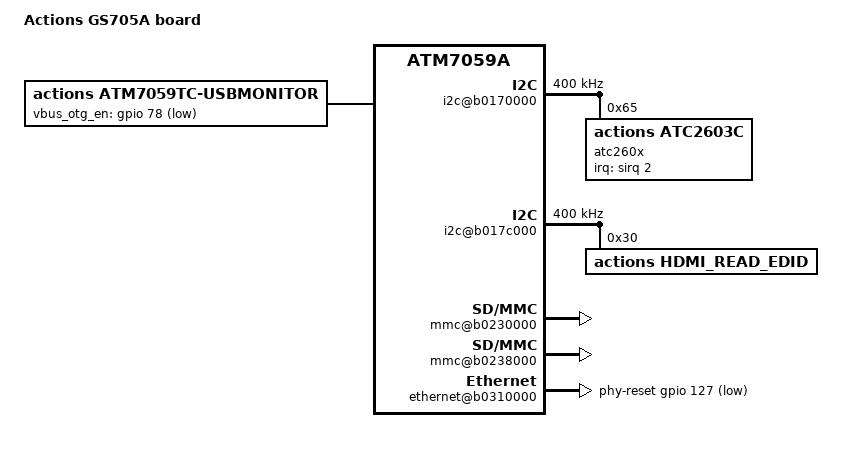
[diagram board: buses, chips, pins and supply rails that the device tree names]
/dts-v1/;

/include/ "actduino.dtsi"
#include <dt-bindings/input/input.h>

/ {
	model = "Actions GS705A board";
	compatible = "actions,gs705a", "actions,atm7059a";

	clock:0b0160000 {
		compatible = "actions,owl-clk";
		core_pll = <0x332>;
		dev_pll = <0x1164>;
		bus_pll = <0x1c710000>;
		display_pll = <0x164>;
		bus1_pll = <0x2e004>;
		clk_spead = <0x0>;
	};
	
	gpio_int {
		initgpio_A=<23 0 0>,<25 0 0>;/*<x1,x2,x3>,x1=PIN,x2=(0=OUT,1=IN),x3=IOVAL*/
		initgpio_B=<23 0 0>;
	};
    
	reserved {
		tiny {
			fb_heap_size = <4>;
			kinfo_heap_size = <1>;
			carveout_heap_size = <40>;
			dma_heap_size = <128>;
		};
		normal {
			fb_heap_size = <8>;
			kinfo_heap_size = <1>;
			carveout_heap_size = <244>;
			dma_heap_size = <98>;
		};
	};
	
	pinctrl@b01b0040 {
		pinctrl-names = "default";
		pinctrl-0 = <&state_default>;

		state_default: pinctrl_default {
		};

		i2c0_state_default: i2c0_default {/* i2c0 use default pin	*/
			i2c0_default_mfp {
				actions,groups = "mfp3_18_16";
				actions,function = "i2c0";
			};

			i2c0_default_paddrv {
				actions,groups = "paddrv2_24_23";
				actions,paddrv = <0>;/*level 1*/
			};

			i2c0_default_pull_up {
				actions,pins = "P_I2C0_SCLK","P_I2C0_SDATA";
				actions,pull = <2>; /*pull up*/
			};
		};

		i2c0_state_over_uart0: i2c0_over_uart0 {/* i2c0 use uart0 pin	*/
			i2c0_over_uart0_mfp {
				actions,groups = "mfp2_2_0", "mfp3_21_19";
				actions,function = "i2c0";
			};

			i2c0_over_uart0_paddrv {
				actions,groups = "paddrv2_31_30","paddrv2_29_28";
				actions,paddrv = <0>;/*level 1*/
			};

			i2c0_over_uart0_pull_up {
				actions,pins = "P_UART0_RX","P_UART0_TX";
				actions,pull = <2>; /*pull up*/
			};
		};	

		i2c1_state_default: i2c1_default {/* i2c1 use default pin	*/
			i2c1_default_mfp {
				actions,groups = "i2c1_dummy";
				actions,function = "i2c1";
			};

			i2c1_default_paddrv {
				actions,groups = "paddrv2_22_21";
				actions,paddrv = <0>;/*level 1*/
			};

			i2c1_default_pull_up {
				actions,pins = "P_I2C1_SCLK","P_I2C1_SDATA";
				actions,pull = <0>;	/*stay disabled*/
			};
		};

		i2c2_state_default: i2c2_default {/* i2c2 use default pin*/
			i2c2_default_mfp {
				actions,groups = "i2c2_dummy";
				actions,function = "i2c2";
			};

			i2c2_default_paddrv {
				actions,groups = "paddrv2_22_21";
				actions,paddrv = <0>;/*level 1*/
			};

			i2c2_default_pull_up {
				actions,pins = "P_I2C2_SCLK","P_I2C2_SDATA";
				actions,pull = <2>; /*pull up*/
			};
		};
		
		i2c3_state_over_spi0: i2c3_over_spi0 {/* i2c3 use spi0 pin	*/
			i2c3_over_spi0_mfp {
				actions,groups = "mfp1_4_3";
				actions,function = "i2c3";
			};

			i2c3_over_spi0_paddrv {
				actions,groups = "paddrv1_11_10";
				actions,paddrv = <0>;/*level 1*/
			};

			i2c3_over_spi0_pull_up {
				actions,pins = "P_SPI0_SCLK","P_SPI0_MOSI";
				actions,pull = <2>; /*pull up*/
			};
		};				

		pwm0_state_default: pwm0_default {
			pwm0_mfp {
				actions,groups = "mfp1_31_29_ks_in2";
				actions,function = "pwm0";
			};
		};

		pwm1_state_default: pwm1_default {
			pwm1_mfp {
				actions,groups = "mfp1_28_26_ks_in3";
				actions,function = "pwm1";
			};
		};
		
		pwm2_state_default: pwm2_default {
			pwm2_mfp {
				actions,groups = "mfp1_25_23";
				actions,function = "pwm2";
			};
		};
		
		pwm3_state_default: pwm3_default {
			pwm3_mfp {
				actions,groups = "mfp1_28_26_ks_out1";
				actions,function = "pwm3";
			};
		};
		
		lvds_state_default: lvds_default {
			lvds_mux {
				actions,groups = "mfp1_6_5", "mfp2_28_27";
				actions,function = "lvds";
			};
			lcd_mux {
                                actions,groups = "mfp1_22_21";
                                actions,function = "lcd0";
                        };
		};
		rgb_state_default: rgb_default {
			rgb_mux {
				actions,groups = "mfp0_25_23","mfp1_16_14", "mfp1_22_21", "mfp1_13_12", "mfp1_11_10", "mfp1_6_5", "mfp2_30_29", "mfp2_28_27";
				actions,function = "lcd0";
			};
		};
		
		dsi_state_default: dsi_default {
			dsi_mux {
				actions,groups = "mfp1_20_19", "mfp1_18_17", "mfp1_13_12", "mfp1_11_10", "mfp1_9_7", "mfp2_30_29";
				actions,function = "dsi";
			};
		};
	};

	i2c@b0170000 {
		i2c_num = <0>;
		clock-frequency = <400000>;
		status = "okay";
		pinctrl-names = "default";
		pinctrl-0 = <&i2c0_state_default>;
		#address-cells = <1>;
		#size-cells = <0>;	
		
		/* atc2603c (5307) */
		atc260x: atc2603c@65 {
			compatible = "actions,atc2603c";
			reg = <0x65>;
			interrupt-parent = <&sirq>;
			interrupts =< 2 0x4 >;
			interrupt-controller;
			#interrupt-cells = <1>;

			atc260x-power{
				compatible = "actions,atc2603c-power";
				support_adaptor_type = <2>;      /*1: DCIN  2: USB  3:DCIN+USB*/
				gauge_bus_id = <2>;      /*gauge bus id: 0~n*/
				gauge_id = <1>;      /*0:default gauge, 1:hwgauge*/
				boot_cap_threshold = <7>;     /*7%,the lowest capacity permitted to boot*/ 
				support_minicharger = < 1 >;	/* 1:support minicharer  0:do not support minicharger */  
			};
		};
	};

	i2c@b017c000 {
		i2c_num = <1>;
		clock-frequency = <400000>;
		status = "okay";
		pinctrl-names = "default";
		pinctrl-0 = <&i2c1_state_default>;	
		hdmi_read_edid@30 {
			compatible = "actions,hdmi_read_edid";
			reg = <0x30>;
		};	
	};

	spi@b0200000 {
		status = "disabled";
	};

	spi@b0204000 {
		status = "disabled";
	};
	
	spi@b0208000 {
		status = "disabled";
	};

	spi@b020c000 {
		status = "disabled";
	};

	gpio@b01b0000 {
		status = "okay";
	};

	mmc@b0230000 {
		status = "okay";
	};

	mmc@b0234000 {
		status = "disabled";
	};

	mmc@b0238000 {
		status = "okay";
	};
	
	monitor {
		compatible = "actions,atm7059tc-usbmonitor";
		vbus_otg_en_gpios = <&gpio 78 1>;  /* GPIOC14,  0: low active; 1: high active */
		status = "okay";
	};

	framebuffer {
		compatible = "actions,framebuffer";
		def_display  = "lcd";
	};

		
	lcd0: lcd0@b02a0000 {
                pinctrl-names = "default";
                pinctrl-0 = <&lvds_state_default>;
                lcd_power_gpios = <&gpio 36 0>;    /*GPIOB4*/
               // lcd_reset_gpios = <&gpio 49 0>; /*GPIOB17*/
                port_type = "lvds";
                data_width = <0>;               /* 0:24bit ,1:18bit */
                videomode-0 = <&lcd_mode0>;
                vsync_inversion = <0>;
                hsync_inversion = <0>;
                dclk_inversion = <0>;
                lde_inversion = <0>;
                lvds_ctl = <0x000a9523>;        /* last two bit: 3:8bit ,1:6bit */
                lvds_alg_ctl0 = <0xc141a030>;
                lightness = <128>;
                saturation = <7>;
                contrast = <5>;


                lcd_mode0:mode@1024x600p60 {
                        refresh = <60>;
                        xres = <1024>;
                        yres = <600>;
                        pixclock = <23333>;
                        left_margin = <56>;
                        right_margin = <60>;
                        upper_margin = <13>;
                        lower_margin = <18>;
                        hsync_len = <4>;
                        vsync_len = <4>;
                        vmode = <0>;
                };	

/*
                lcd_mode0:mode@1280x800p60 {
                refresh = <60>;
                        xres = <1280>; 
                        yres = <800>;    
                        pixclock = <14090>;
                        left_margin = <80>;
                        right_margin = <60>;
                        upper_margin = <8>;
                        lower_margin = <7>;
                        hsync_len = <20>;
                        vsync_len = <8>;
                        vmode = <0>;
                };
*/		
        };

        dsi: dsi@b0220000 {
                status = "disabled";
        };


	hdmi:hdmi@b02c0000{
		hdcp_onoff = <0>;
		channel_invert = <0>;
		bit_invert = <0>;
		bootable = <1>; 
		bootrotate = <0>;   
		default_resolution = "auto";
	};

	pwm: pwm@b01b0050 {
		pwm0 {
			id = <0>;
			pinctrl-names = "default";
			pinctrl-0 = <&pwm0_state_default>;
		};
		pwm1 {
			id = <1>;
			pinctrl-names = "default";
			pinctrl-0 = <&pwm1_state_default>;
		};
		pwm2 {
			id = <2>;
			pinctrl-names = "default";
			pinctrl-0 = <&pwm2_state_default>;
		};
		pwm3 {
			id = <3>;
			pinctrl-names = "default";
			pinctrl-0 = <&pwm3_state_default>;
		};
	};

	ethernet@b0310000 {
		compatible = "actions,owl-ethernet";
		phy_addr = <1>;
		status = "okay";
		phy-power-gpios = <&gpio 43 0>; /* GPIOB11 active  1:low  0:high*/
                phy-reset-gpios = <&gpio 127 0>; /* GPIOD31 active  1:low  0:high*/
	};

	backlight {
		/*1.pwm num; 2. period in ns; */
		/*3.plarity, 0: high active, 1: low active*/
		backlight_en_gpios = <&gpio 49 0>; /*GPIOD28*/ 
		pwms = <&pwm 0 50000 1>;
		total_steps = <1024>;
		min_brightness = <120>;
		max_brightness = <450>;
		dft_brightness = <300>;
		delay_bf_pwm  = <200>;
		delay_af_pwm  = <10>;	
	};
};
